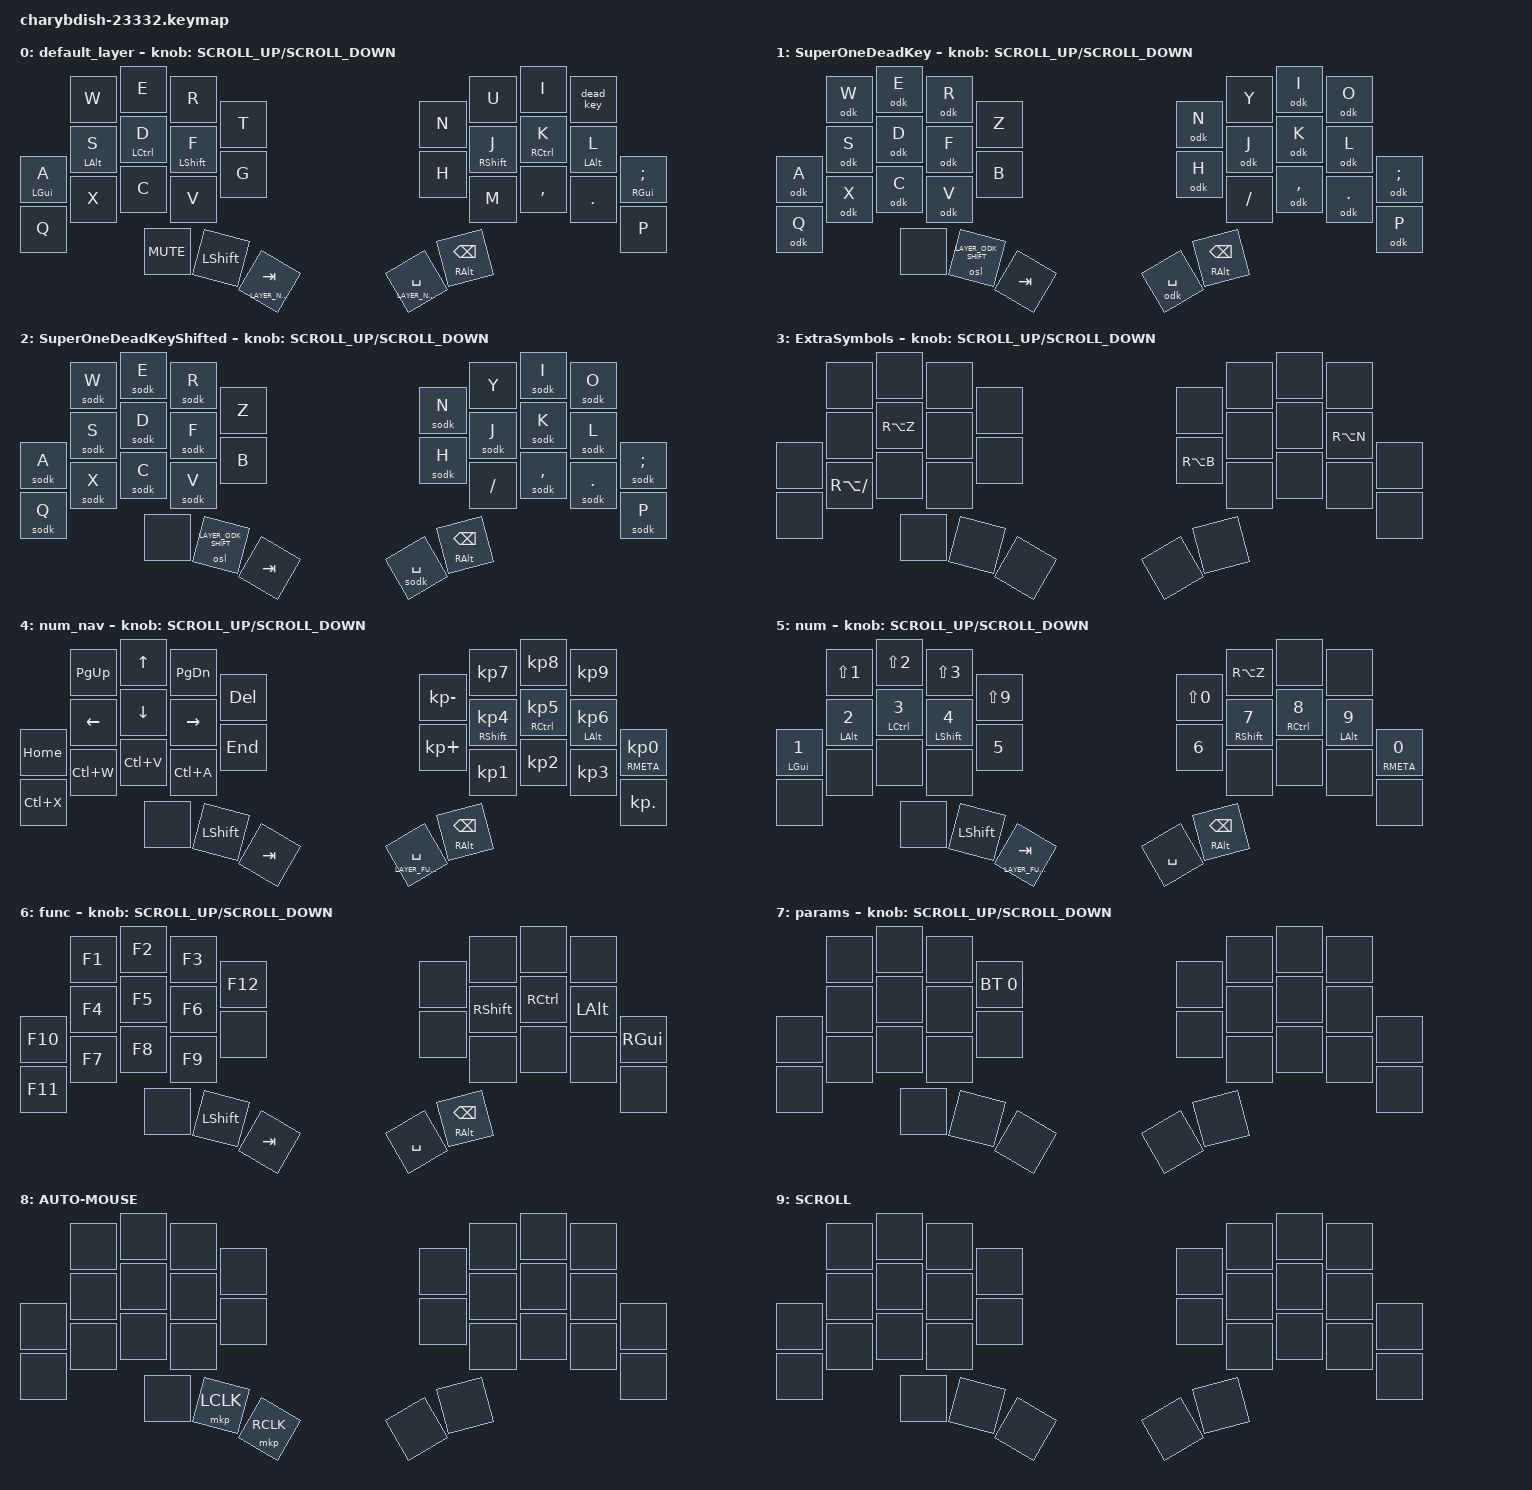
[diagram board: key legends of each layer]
#include <dt-bindings/zmk/mouse.h>
#include <behaviors/mouse_keys.dtsi>
#include <behaviors.dtsi>
#include <dt-bindings/zmk/bt.h>
#include <dt-bindings/zmk/keys.h>
#include <dt-bindings/zmk/pointing.h>

#include <dt-bindings/zmk/outputs.h>
#include <input/processors.dtsi>
#include <dt-bindings/zmk/input_transform.h>

#include <behaviors/mouse_keys.dtsi>

#define ZMK_POINTING_DEFAULT_SCRL_VAL 72

#define MS LSHFT
#define MA LALT
#define MC LCTL

/* --- KEYMAP CONFIG --- */
// ╭──────┬──────┬──────┬──────┬──────╮  ╭──────┬──────┬──────┬──────┬──────╮
//           00     01     02     03        04     05     06     07         
// ├──────┼──────┼──────┼──────┼──────┤  ├──────┼──────┼──────┼──────┼──────┤
//    08     09     10     11     12        13     14     15     16     17   
// ├──────┼──────┼──────┼──────┼──────┤  ├──────┼──────┼──────┼──────┼──────┤
//    18     19     20     21                      22     23     24     25   
// ╰──────┴──────┼──────┼──────┼──────┤  ├──────┼──────┼──────┴──────┴──────╯
//                  26     27     28        29     30
//               ╰──────┴──────┴──────╯  ╰──────┴──────╯

#define LAYER_BASE          0
#define LAYER_ODK           1
#define LAYER_ODK_SHIFT     2
#define LAYER_EXTRA_SYMBOLS 3
#define LAYER_NUMNAV        4
#define LAYER_NUM_ROW       5
#define LAYER_FUNC          6
#define AUTO_MOUSE          7
#define MOUSE_SCROLL        8

/ {
    behaviors {
        HMR_R: HMR_R {
            compatible = "zmk,behavior-hold-tap";
            label = "HMR_R";
            bindings = <&kp>, <&kp>;

            #binding-cells = <2>;
            tapping-term-ms = <280>;
            quick-tap-ms = <175>;
            flavor = "balanced";
            hold-trigger-key-positions = <0 1 2 3 8 9 10 11 12 18 19 20 21 26 27 28 29 30>;
            hold-trigger-on-release;
            require-prior-idle-ms = <230>;
        };

        HRM_L: HRM_L {
            compatible = "zmk,behavior-hold-tap";
            label = "HRM_L";
            bindings = <&kp>, <&kp>;

            #binding-cells = <2>;
            tapping-term-ms = <280>;
            quick-tap-ms = <175>;
            hold-trigger-on-release;
            hold-trigger-key-positions = <4 5 6 7 13 14 15 16 17 22 23 24 25 29 30 28 27 26>;
            flavor = "balanced";
            require-prior-idle-ms = <230>;
        };

        mouse_scrll_v: mouse_scrll_v {
            compatible = "zmk,behavior-sensor-rotate";
            label = "MOUSE_SCRLL_V";
            #sensor-binding-cells = <0>;
            bindings = <&msc SCRL_UP>, <&msc SCRL_DOWN>;

            tap-ms = <20>;
        };

        mouse_scroll_h: mouse_scroll_h {
            compatible = "zmk,behavior-sensor-rotate";
            label = "MOUSE_SCROLL_H";
            #sensor-binding-cells = <0>;
            bindings = <&msc SCRL_LEFT>, <&msc SCRL_RIGHT>;

            tap-ms = <20>;
        };

        osm: one_shot_modifier {
            compatible = "zmk,behavior-macro-one-param";
            #binding-cells = <1>;
            tap-ms = <0>;
            wait-ms = <0>;
            bindings =
                <&macro_param_1to1>,
                <&macro_tap>,
                <&sk MACRO_PLACEHOLDER>;
        };

        osl: one_shot_layer {
            compatible = "zmk,behavior-macro-one-param";
            #binding-cells = <1>;
            tap-ms = <0>;
            wait-ms = <0>;
            bindings =
                <&macro_param_1to1>,
                <&macro_tap>,
                <&sl MACRO_PLACEHOLDER>;
        };

        // I mean, it wants everything at the same time

        bls: bisexual_layer_switch {
            compatible = "zmk,behavior-hold-tap";
            #binding-cells = <2>;
            tapping-term-ms = <200>;
            flavor = "tap-preferred";
            bindings = <&mo>, <&osl>;
        };

        dead_key: dead_key {
            compatible = "zmk,behavior-mod-morph";
            #binding-cells = <0>;
            bindings = <&bls LAYER_ODK LAYER_ODK>, <&kp O>;

            mods = <(MOD_LSFT|MOD_RSFT|MOD_RALT|MOD_LGUI)>;
            keep-mods = <(MOD_LSFT|MOD_RSFT|MOD_RALT|MOD_LGUI|MOD_LCTL)>;
        };

        nsodk: no_shift_one_dead_key {
            compatible = "zmk,behavior-mod-morph";
            #binding-cells = <0>;
            bindings = <&kp O>, <&kp O>;

            mods = <(MOD_LSFT)>;
        };
    };

    macros {
        odk: one_dead_key {
            compatible = "zmk,behavior-macro-one-param";
            #binding-cells = <1>;
            tap-ms = <0>;
            wait-ms = <0>;
            bindings =
                <&macro_tap>,
                <&nsodk &macro_param_1to1>,
                <&macro_tap>,
                <&kp MACRO_PLACEHOLDER>;
        };

        sodk: shifted_one_dead_key {
            compatible = "zmk,behavior-macro-one-param";
            #binding-cells = <1>;
            tap-ms = <0>;
            wait-ms = <0>;
            bindings =
                <&macro_tap>,
                <&nsodk>,
                <&macro_press>,
                <&kp LSHFT &macro_param_1to1>,
                <&macro_tap>,
                <&kp MACRO_PLACEHOLDER>,
                <&macro_release>,
                <&kp LSHFT>;
        };
    };

    combos {
        compatible = "zmk,combos";

        enter {
            bindings = <&kp ENTER>;
            key-positions = <16 15 14>;
        };

        printscreen {
            bindings = <&kp PRINTSCREEN>;
            key-positions = <21 19 20>;
        };

        esc {
            bindings = <&kp ESCAPE>;
            key-positions = <0 1>;
        };

        capslock {
            bindings = <&kp CAPSLOCK>;
            key-positions = <10 8 9>;
        };

        kp_divide {
            bindings = <&kp KP_DIVIDE>;
            key-positions = <4 5>;
            layers = <4>;
        };

        kp_mult {
            bindings = <&kp KP_ASTERISK>;
            key-positions = <13 14>;
            layers = <4>;
        };
    };

    keymap {
        compatible = "zmk,keymap";

        default_layer {
            bindings = <
&kp W              &kp E              &kp R           &kp T           &kp N                  &kp U                   &kp I                    &dead_key
&HRM_L LEFT_GUI A  &HRM_L LEFT_ALT S  &HRM_L LCTRL D  &HRM_L LSHFT F  &kp G                  &kp H                   &HMR_R RSHIFT J          &HMR_R RCTRL K  &HMR_R LEFT_ALT L  &HMR_R RGUI SEMI
&kp Q              &kp X              &kp C           &kp V           &kp M                  &kp COMMA               &kp DOT                  &kp P
                                      &kp K_MUTE      &kp LEFT_SHIFT  &lt LAYER_NUM_ROW TAB  &lt LAYER_NUMNAV SPACE  &mt RIGHT_ALT BACKSPACE
            >;

            sensor-bindings = <&inc_dec_kp K_SCROLL_UP K_SCROLL_DOWN>;
        };

        super_odk {
            display-name = "SuperOneDeadKey";
            bindings = <
&odk W  &odk E  &odk R  &kp Z                 &odk N     &kp Y       &odk I                   &odk O
&odk A  &odk S  &odk D  &odk F                &kp B      &odk H      &odk J                   &odk K  &odk L  &odk SEMI
&odk Q  &odk X  &odk C  &odk V                &kp SLASH  &odk COMMA  &odk DOT                 &odk P
                &none   &osl LAYER_ODK_SHIFT  &kp TAB    &odk SPACE  &mt RIGHT_ALT BACKSPACE
            >;

            sensor-bindings = <&inc_dec_kp K_SCROLL_UP K_SCROLL_DOWN>;
        };

        super_odk_shift {
            display-name = "SuperOneDeadKeyShifted";
            bindings = <
&sodk W  &sodk E  &sodk R  &kp Z                 &sodk N    &kp Y        &sodk I                  &sodk O
&sodk A  &sodk S  &sodk D  &sodk F               &kp B      &sodk H      &sodk J                  &sodk K  &sodk L  &sodk SEMI
&sodk Q  &sodk X  &sodk C  &sodk V               &kp SLASH  &sodk COMMA  &sodk DOT                &sodk P
                  &none    &osl LAYER_ODK_SHIFT  &kp TAB    &sodk SPACE  &mt RIGHT_ALT BACKSPACE
            >;

            sensor-bindings = <&inc_dec_kp K_SCROLL_UP K_SCROLL_DOWN>;
        };

        extra_symbols {
            display-name = "ExtraSymbols";
            bindings = <
&none  &none         &none      &none  &none  &none      &none  &none
&none  &none         &kp RA(Z)  &none  &none  &kp RA(B)  &none  &none  &kp RA(N)  &none
&none  &kp RA(FSLH)  &none      &none  &none  &none      &none  &none
                     &none      &none  &none  &none      &none
            >;

            sensor-bindings = <&inc_dec_kp K_SCROLL_UP K_SCROLL_DOWN>;
        };

        num_nav {
            bindings = <
&kp PAGE_UP  &kp UP_ARROW    &kp PAGE_DOWN   &kp DELETE  &kp KP_SUBTRACT  &kp KP_NUMBER_7       &kp KP_N8                 &kp KP_NUMBER_9
&kp HOME     &kp LEFT_ARROW  &kp DOWN_ARROW  &kp RIGHT   &kp END          &kp KP_PLUS           &HMR_R RSHFT KP_NUMBER_4  &HMR_R RCTRL KP_NUMBER_5  &HMR_R LALT KP_NUMBER_6  &HMR_R RMETA KP_N0
&kp LC(X)    &kp LC(W)       &kp LC(V)       &kp LC(A)   &kp KP_NUMBER_1  &kp KP_NUMBER_2       &kp KP_NUMBER_3           &kp KP_DOT
                             &none           &kp LSHFT   &kp TAB          &lt LAYER_FUNC SPACE  &mt RIGHT_ALT BACKSPACE
            >;

            sensor-bindings = <&inc_dec_kp K_SCROLL_UP K_SCROLL_DOWN>;
        };

        num {
            bindings = <
&kp LS(N1)                &kp LS(N2)                &kp LS(N3)             &kp LS(N9)              &kp LS(N0)          &kp RA(Z)  &none                    &none
&HRM_L LEFT_GUI NUMBER_1  &HRM_L LEFT_ALT NUMBER_2  &HRM_L LCTRL NUMBER_3  &HRM_L LSHIFT NUMBER_4  &kp N5              &kp N6     &HMR_R RSHFT N7          &HMR_R RCTRL N8  &HMR_R LEFT_ALT N9  &HMR_R RMETA N0
&none                     &none                     &none                  &none                   &none               &none      &none                    &none
                                                    &none                  &kp LSHFT               &lt LAYER_FUNC TAB  &kp SPACE  &mt RIGHT_ALT BACKSPACE
            >;

            sensor-bindings = <&inc_dec_kp K_SCROLL_UP K_SCROLL_DOWN>;
        };

        func {
            bindings = <
&kp F1   &kp F2  &kp F3  &kp F12    &none    &none      &none               &none
&kp F10  &kp F4  &kp F5  &kp F6     &none    &none      &kp RSHIFT          &kp RCTRL  &kp LEFT_ALT  &kp RGUI
&kp F11  &kp F7  &kp F8  &kp F9     &none    &none      &none               &none
                 &none   &kp LSHFT  &kp TAB  &kp SPACE  &mt RALT BACKSPACE
            >;

            sensor-bindings = <&inc_dec_kp K_SCROLL_UP K_SCROLL_DOWN>;
        };

        params {
            bindings = <
        &none  &none  &none  &bt BT_SEL 0         &none  &none  &none  &none
&none   &none  &none  &none  &none         &none  &none  &none  &none  &none
&none   &none  &none  &none                       &none  &none  &none  &none
               &none  &none  &none         &none  &none
            >;

            sensor-bindings = <&inc_dec_kp K_SCROLL_UP K_SCROLL_DOWN>;
        };

        AUTO-MOUSE {
            bindings = <
        &none  &none  &none  &none         &none  &none  &none  &none
&none   &none  &none  &none  &none         &none  &none  &none  &none  &none
&none   &none  &none  &none                       &none  &none  &none  &none
               &none  &mkp LCLK  &mkp RCLK         &none  &none
            >;
        };

        SCROLL {
            bindings = <
        &none  &none  &none  &none         &none  &none  &none  &none
&none   &none  &none  &none  &none         &none  &none  &none  &none  &none
&none   &none  &none  &none                       &none  &none  &none  &none
               &none  &none  &none         &none  &none
            >;
        };
    };
};
